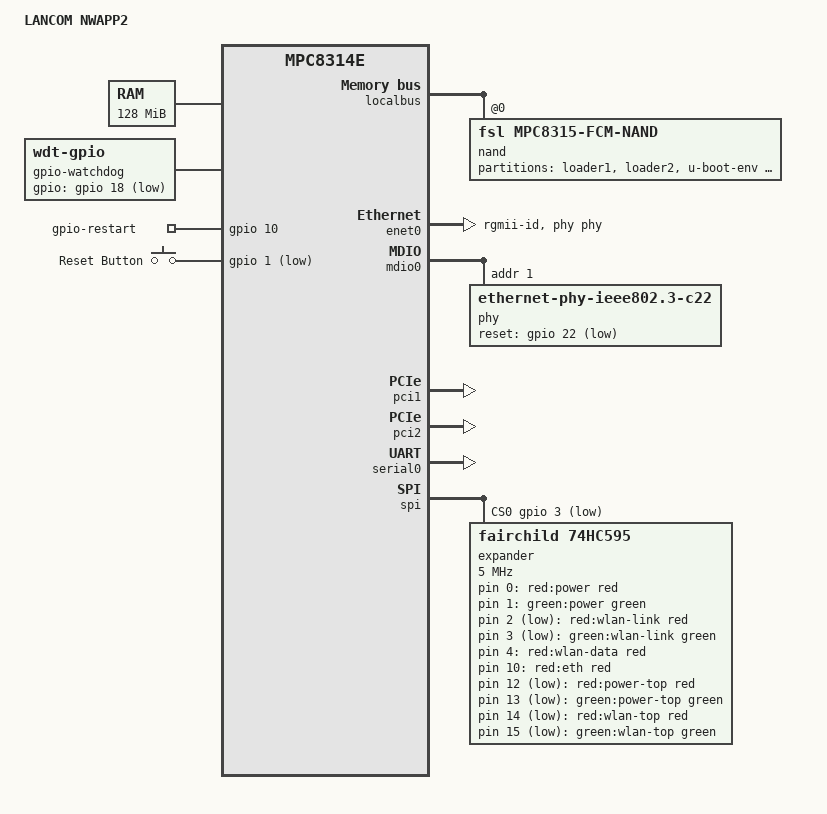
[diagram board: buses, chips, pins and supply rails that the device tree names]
// SPDX-License-Identifier: GPL-2.0-or-later
// Copyright 2024 J. Neuschäfer
//
// LANCOM NWAPP2, marketed as:
// - LANCOM L-321agn Wireless (R2)
// - LANCOM L-322agn dual Wireless (R2)
// - LANCOM L-322E Wireless
#include "mpc8314e.dtsi"

#include <dt-bindings/gpio/gpio.h>
#include <dt-bindings/leds/common.h>
#include <dt-bindings/input/input.h>

/ {
	compatible = "lancom,nwapp2", "fsl,mpc8314e";
	model = "LANCOM NWAPP2";

	memory {
		reg = <0x00000000 0x08000000>;	// 128MB at 0
	};

	aliases {
		serial0 = &serial0;
		pci1 = &pci1;
		pci2 = &pci2;
	};

	chosen {
		stdout-path = "serial0:115200n8";
	};

	gpio-watchdog {
		compatible = "linux,wdt-gpio";
		gpios = <&gpio 18 GPIO_ACTIVE_LOW>;
		hw_algo = "toggle";
		hw_margin_ms = <1000>;
		always-running;
	};

	gpio-restart {
		compatible = "gpio-restart";
		gpios = <&gpio 10 GPIO_ACTIVE_HIGH>;
	};

	gpio-keys {
		compatible = "gpio-keys";

		reset-button {
			label = "Reset Button";
			linux,code = <KEY_SETUP>;
			gpios = <&gpio 1 GPIO_ACTIVE_LOW>;
		};
	};

	gpio-leds {
		compatible = "gpio-leds";

		led_power_red: led-0 {
			label = "red:power";
			gpios = <&expander 0 GPIO_ACTIVE_HIGH>;
			color = <LED_COLOR_ID_RED>;
		};

		led_power_green: led-1 {
			label = "green:power";
			gpios = <&expander 1 GPIO_ACTIVE_HIGH>;
			color = <LED_COLOR_ID_GREEN>;
		};

		led_wlan_link_red: led-2 {
			label = "red:wlan-link";
			gpios = <&expander 2 GPIO_ACTIVE_LOW>;
			color = <LED_COLOR_ID_RED>;
		};

		led_wlan_link_green: led-3 {
			label = "green:wlan-link";
			gpios = <&expander 3 GPIO_ACTIVE_LOW>;
			color = <LED_COLOR_ID_GREEN>;
		};

		led_wlan_data_red: led-4 {
			label = "red:wlan-data";
			gpios = <&expander 4 GPIO_ACTIVE_HIGH>;
			color = <LED_COLOR_ID_RED>;
		};

		led_eth_red: led-10 {
			label = "red:eth";
			gpios = <&expander 10 GPIO_ACTIVE_HIGH>;
			color = <LED_COLOR_ID_RED>;
		};

		led_power_top_red: led-12 {
			label = "red:power-top";
			gpios = <&expander 12 GPIO_ACTIVE_LOW>;
			color = <LED_COLOR_ID_RED>;
		};

		led_power_top_green: led-13 {
			label = "green:power-top";
			gpios = <&expander 13 GPIO_ACTIVE_LOW>;
			color = <LED_COLOR_ID_GREEN>;
		};

		led_wlan_top_red: led-14 {
			label = "red:wlan-top";
			gpios = <&expander 14 GPIO_ACTIVE_LOW>;
			color = <LED_COLOR_ID_RED>;
		};

		led_wlan_top_green: led-15 {
			label = "green:wlan-top";
			gpios = <&expander 15 GPIO_ACTIVE_LOW>;
			color = <LED_COLOR_ID_GREEN>;
		};
	};

	led-power {
		compatible = "leds-group-multicolor";
		label = "multicolor:power";
		color = <LED_COLOR_ID_MULTI>;
		function = LED_FUNCTION_POWER;
		leds = <&led_power_red>, <&led_power_green>;
	};

	led-wlan-link {
		compatible = "leds-group-multicolor";
		label = "multicolor:wlan-link";
		color = <LED_COLOR_ID_MULTI>;
		function = LED_FUNCTION_WLAN;
		leds = <&led_wlan_link_red>, <&led_wlan_link_green>;
	};

	led-wlan-data {
		compatible = "leds-group-multicolor";
		label = "multicolor:wlan-data";
		color = <LED_COLOR_ID_MULTI>;
		leds = <&led_wlan_data_red>;
	};

	led-eth {
		compatible = "leds-group-multicolor";
		label = "multicolor:eth";
		color = <LED_COLOR_ID_MULTI>;
		leds = <&led_eth_red>;
	};

	led-power-top {
		compatible = "leds-group-multicolor";
		label = "multicolor:power-top";
		color = <LED_COLOR_ID_MULTI>;
		function = LED_FUNCTION_POWER;
		leds = <&led_power_top_red>, <&led_power_top_green>;
	};

	led-wlan-top {
		compatible = "leds-group-multicolor";
		label = "multicolor:wlan-top";
		color = <LED_COLOR_ID_MULTI>;
		leds = <&led_wlan_top_red>, <&led_wlan_top_green>;
	};
};

&gpio {
	gpio-line-names =
		/*  0 -  7 */ "DEBUG#", "RESET_BTN#", "", "EXP_LATCH", "", "", "", "PCIE_RST#",
		/*  8 - 15 */ "", "", "BOARD_RST", "", "", "", "", "",
		/* 16 - 23 */ "", "", "WDT_TOGGLE", "", "", "", "PHY_RST#", "",
		/* 24 - 31 */ "", "", "", "", "", "", "", "";
};

&localbus {
	status = "okay";
	ranges = <0x0 0x0 0xfe000000 0x00008000>;

	nand@0,0 {
		compatible = "fsl,mpc8315-fcm-nand",
			     "fsl,elbc-fcm-nand";
		reg = <0x0 0x0 0x2000>;
		#address-cells = <1>;
		#size-cells = <1>;

		partitions {
			compatible = "fixed-partitions";
			#address-cells = <1>;
			#size-cells = <1>;

			partition@0 {
				label = "loader1";
				reg = <0x0 0x8000>;
				read-only;
			};

			partition@8000 {
				label = "loader2";
				reg = <0x8000 0x78000>;
				read-only;
			};

			// 0x80000:0xf80000 is designated "loader spare" by
			// vendor firmware, but we re-use it for our purposes.

			partition@80000 {
				label = "u-boot-env";
				reg = <0x80000 0x80000>;
			};

			partition@100000 {
				label = "loader-spare";
				reg = <0x100000 0xf00000>;
			};

			partition@1000000 {
				label = "fs";
				reg = <0x1000000 0xf000000>;
				/* YAFFS2 filesystem */
			};
		};
	};
};

&enet0 {
	status = "okay";
	phy-handle = <&phy>;
	phy-mode = "rgmii-id";
};

&mdio0 {
	compatible = "fsl,gianfar-mdio";
	status = "okay";

	phy: ethernet-phy@1 {
		/* Atheros AR8032 */
		compatible = "ethernet-phy-ieee802.3-c22";
		reg = <1>;
		reset-gpios = <&gpio 22 GPIO_ACTIVE_LOW>;
	};
};

&pci1 {
	status = "okay";
	ranges = <0x02000000 0 0x88000000 0x88000000 0 0x02000000>,
		 <0x01000000 0 0x00000000 0xc9080000 0 0x00800000>;
};

&pci2 {
	status = "okay";
	ranges = <0x02000000 0 0x88000000 0x8c000000 0 0x02000000>,
		 <0x01000000 0 0x00000000 0xc9900000 0 0x00800000>;
};

&serial0 {
	status = "okay";
};

&spi {
	status = "okay";
	cs-gpios = <&gpio 3 GPIO_ACTIVE_LOW>;

	expander: gpio-controller@0 {
		compatible = "fairchild,74hc595"; /* Onsemi MC74HC595A */
		reg = <0>;
		spi-max-frequency = <5000000>;
		gpio-controller;
		#gpio-cells = <2>;
		registers-number = <2>;
	};
};
